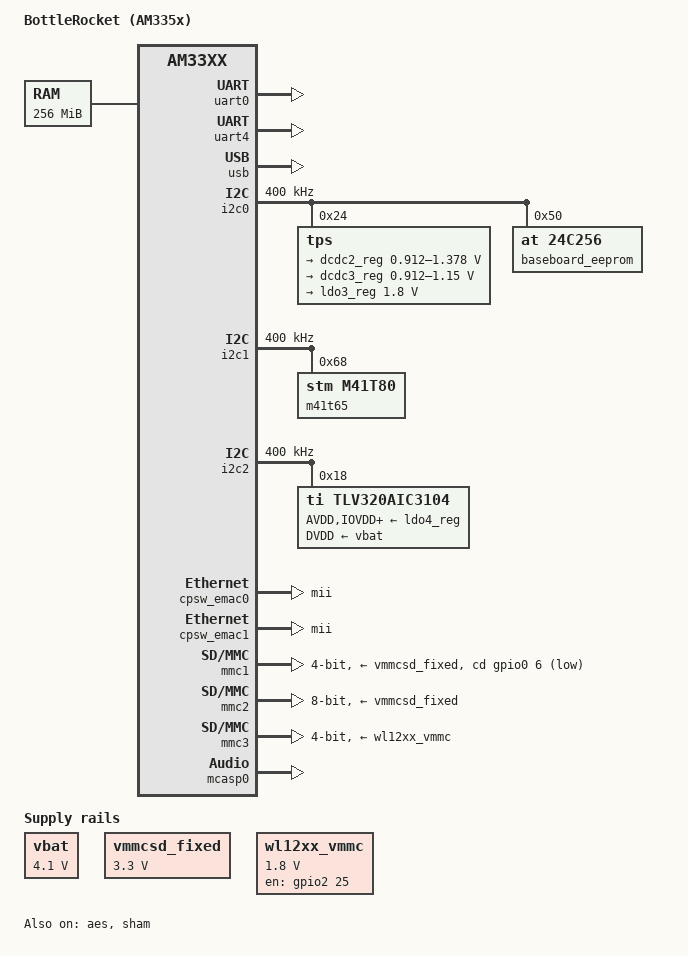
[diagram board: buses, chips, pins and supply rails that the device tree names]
/*
 * Copyright (C) 2015 Openity Incorporated - http://www.openity.com
 *   based on:
 * Copyright (C) 2012 Texas Instruments Incorporated - http://www.ti.com/
 *
 * This program is free software; you can redistribute it and/or modify
 * it under the terms of the GNU General Public License version 2 as
 * published by the Free Software Foundation.
 */
/dts-v1/;

#include <dt-bindings/interrupt-controller/irq.h>
#include <dt-bindings/pwm/pwm.h>

#include "am33xx.dtsi"


/ {
	model = "BottleRocket (AM335x)";
	compatible = "ti,am335x-br", "ti,am335x-bone-black", "ti,am335x-bone", "ti,am33xx";

	cpus {
		cpu@0 {
			cpu0-supply = <&dcdc2_reg>;
		};
	};

	memory {
		device_type = "memory";
		reg = <0x80000000 0x10000000>; /* 256 MB <= this is really 512MB, how does this work??? */
	};

	sound {
		compatible = "ti,da830-evm-audio";
		ti,model = "AM335x-BR";
		ti,audio-codec = <&tlv320aic3104>;
		ti,mcasp-controller = <&mcasp0>;
		ti,codec-clock-rate = <24000000>;
		ti,audio-routing =
			"Line Out",	"HPLOUT",
			"Line Out",	"HPROUT",
			"MIC2L",	"Line In",
			"MIC2R",	"Line In";
	};

	vbat: fixedregulator@0 {
		compatible = "regulator-fixed";
		regulator-name = "vbat";
		regulator-min-microvolt = <4100000>;  /* <= what to set to??? */
		regulator-max-microvolt = <4100000>;  /* <= maybe 4.2??? */
		regulator-boot-on;
	};

	vmmcsd_fixed: fixedregulator@1 {
		compatible = "regulator-fixed";
		regulator-name = "vmmcsd_fixed";
		regulator-min-microvolt = <3300000>;
		regulator-max-microvolt = <3300000>;
	};

	wl12xx_vmmc: fixedregulator@2 {
		compatible = "regulator-fixed";
		regulator-name = "vwl1271";
		regulator-min-microvolt = <1800000>;
		regulator-max-microvolt = <1800000>;

		/* WLAN_EN */
		/* do NOT fix the warning this creates as that seems to break things... */
		pinctrl-names = "default";
		pinctrl-0 = <&wl12xx_gpio>;
		gpio = <&gpio2 25 0>;
		startup-delay-us = <70000>;
		enable-active-high;
	};
};

/* --- GPIOS --- */
#include "am335x-br-pinmux.dtsi"
#include "am335x-br-gpios.dtsi"

/* --- UARTS --- */
&uart0 {
	pinctrl-names = "default";
	pinctrl-0 = <&uart0_pins>;

	status = "okay";
};

&uart4 {
	pinctrl-names = "default";
	pinctrl-0 = <&uart4_pins>;

	status = "okay";
};


/* --- USB --- */
&usb {
	status = "okay";

	control@44e10620 {
		status = "okay";
	};

	usb-phy@47401300 {
		status = "okay";
	};

	usb-phy@47401b00 {
		status = "okay";
	};

	usb@47401000 {
		status = "okay";
		dr_mode = "host";
	};

	usb@47401800 {
		status = "okay";
		dr_mode = "host";
	};

	dma-controller@47402000  {
		status = "okay";
	};
};


/* --- I2C --- */
&i2c0 {
	pinctrl-names = "default";
	pinctrl-0 = <&i2c0_pins>;

	status = "okay";
	clock-frequency = <400000>;

	/* pmic */
	tps: tps@24 {
		reg = <0x24>;
	};

	/* eeprom */
	baseboard_eeprom: baseboard_eeprom@50 {
		compatible = "at,24c256";
		reg = <0x50>;
	};
};

&i2c1 {
	pinctrl-names = "default";
	pinctrl-0 = <&i2c1_pins>;

	status = "okay";
	clock-frequency = <400000>;

	/* rtc (wdt not used) */
	m41t65: m41t65@68 {
		compatible = "stm,m41t80";
		reg = <0x68>;
	}; 

	/* TBD: FUEL GUAGE... */
};

&i2c2 {
	pinctrl-names = "default";
	pinctrl-0 = <&i2c2_pins>;

	status = "okay";
	clock-frequency = <400000>;

	/* audio */
	tlv320aic3104: tlv320aic3104@18 {
		compatible = "ti,tlv320aic3104";
		reg = <0x18>;
		status = "okay";

		/* Regulators */
		AVDD-supply = <&ldo4_reg>;
		IOVDD-supply = <&ldo4_reg>;
		DRVDD-supply = <&ldo4_reg>;
		DVDD-supply = <&vbat>;
	};
};


/* --- PMIC --- */
/include/ "tps65217.dtsi"

&tps {
	ti,pmic-shutdown-controller;

	interrupt-parent = <&intc>;
	interrupts = <7>;	/* NNMI */

	regulators {
		dcdc1_reg: regulator@0 {
			regulator-always-on;
		};

		dcdc2_reg: regulator@1 {
			/* VDD_MPU voltage limits 0.95V - 1.325V with +/-4% tolerance */
			regulator-name = "vdd_mpu";
			regulator-min-microvolt = <912500>;
			regulator-max-microvolt = <1378000>;
			regulator-boot-on;
			regulator-always-on;
		};

		dcdc3_reg: regulator@2 {
			/* VDD_CORE voltage limits 0.95V - 1.1V with +/-4% tolerance */
			regulator-name = "vdd_core";
			regulator-min-microvolt = <912500>;  /* was: 925000 */
			regulator-max-microvolt = <1150000>;
			regulator-boot-on;
			regulator-always-on;
		};

		ldo1_reg: regulator@3 {
			regulator-always-on;
		};

		ldo2_reg: regulator@4 {
			regulator-always-on;
		};

		ldo3_reg: regulator@5 {
			regulator-min-microvolt = <1800000>;
			regulator-max-microvolt = <1800000>;
			regulator-always-on;
		};

		ldo4_reg: regulator@6 {
			regulator-always-on;
		};

		rtc@44e3e000 {
			ti,system-power-controller;
		};
	};
};


/* --- ETHERNET --- */
&cpsw_emac0 {
	phy_id = <&davinci_mdio>, <0>;
	phy-mode = "mii";
};

&cpsw_emac1 {
	phy_id = <&davinci_mdio>, <1>;
	phy-mode = "mii";
};

&mac {
	pinctrl-names = "default", "sleep";
	pinctrl-0 = <&cpsw_default>;
	pinctrl-1 = <&cpsw_sleep>;
};

&davinci_mdio {
	pinctrl-names = "default", "sleep";
	pinctrl-0 = <&davinci_mdio_default>;
	pinctrl-1 = <&davinci_mdio_sleep>;
};


/* --- MMC --- */
/* MMC0, bad naming in Linux! */
&mmc1 {
	status = "okay";
	bus-width = <4>;
	pinctrl-names = "default", "sleep";
	pinctrl-0 = <&mmc1_pins_default>;
	pinctrl-1 = <&mmc1_pins_sleep>;
	cd-gpios = <&gpio0 6 GPIO_ACTIVE_HIGH>;
	cd-inverted;
	vmmc-supply = <&vmmcsd_fixed>;
};

/* MMC1, bad naming in Linux! */
/* from: #include "am335x-boneblack-emmc.dtsi" */
&mmc2 {
	vmmc-supply = <&vmmcsd_fixed>;
	pinctrl-names = "default";
	pinctrl-0 = <&emmc_pins>;
	bus-width = <8>;
	status = "okay";
	ti,vcc-aux-disable-is-sleep;
};

/* MMC2, bad naming in Linux! */
/* from: diff supplied by LSR: http://www.lsr.com/embedded-wireless-modules/wifi-plus-bluetooth-module/tiwi-ble#product-documents */
&mmc3 {
	/* these are on the crossbar and are outlined in the
	   xbar-event-map element */
	dmas = <&edma 12
		&edma 13>;
	dma-names = "tx", "rx";
	status = "okay";
	vmmc-supply = <&wl12xx_vmmc>;
	ti,non-removable;
	bus-width = <4>;
	cap-power-off-card;
	ti,needs-special-hs-handling;
	keep-power-in-suspend;
	pinctrl-names = "default";
	pinctrl-0 = <&mmc3_pins>;
	/* installed 'pdata quirks' handle wl12xx driver */
};

/* setup DMA for mmc3 since not done by default am33xx - right? */
&edma {
	ti,edma-xbar-event-map = /bits/ 16 <1 12
					    2 13>;
};

/* --- AUDIO --- */
&mcasp0 {
	pinctrl-names = "default";
	pinctrl-0 = <&mcasp0_pins_audio_revb>;
	status = "okay";
	op-mode = <0>;          /* MCASP_IIS_MODE */
	tdm-slots = <2>;
	num-serializer = <16>;
	serial-dir = <  /* 0: INACTIVE, 1: TX, 2: RX */
		2 0 1 0
		0 0 0 0
		0 0 0 0
		0 0 0 0
	>;
	tx-num-evt = <1>;
	rx-num-evt = <1>;
};


&wkup_m3 {
	ti,scale-data-fw = "am335x-bone-scale-data.bin";
};

&rtc {
	ti,system-power-controller;
};

&aes {
	status = "okay";
};

&sham {
	status = "okay";
};

